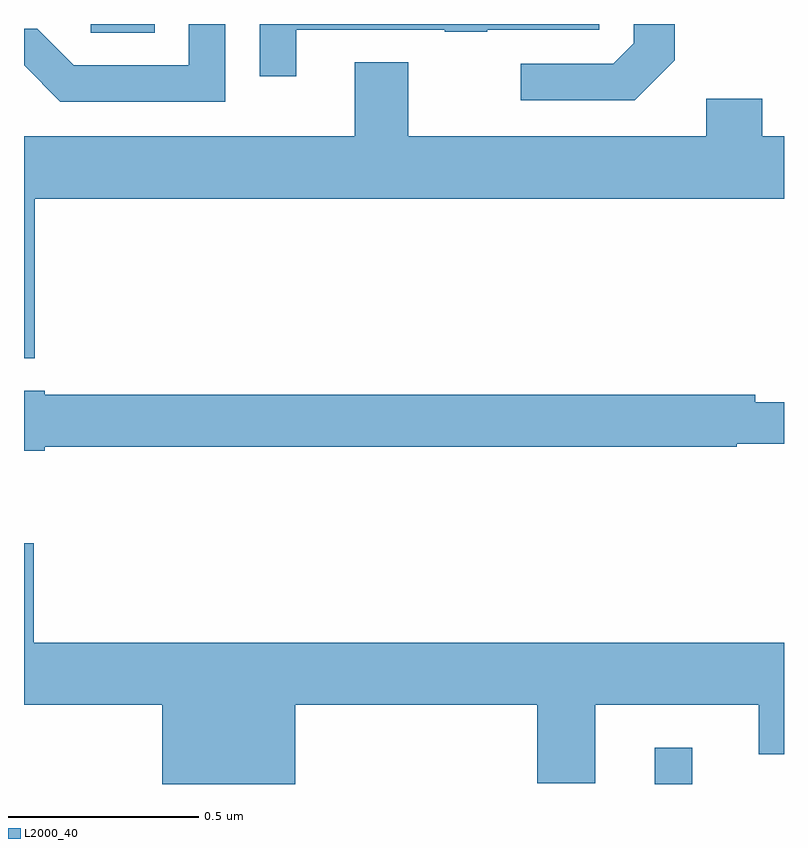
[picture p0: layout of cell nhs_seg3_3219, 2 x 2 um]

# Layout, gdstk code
import gdstk
lib = gdstk.Library(unit=1e-6, precision=1e-09)
def R(c, l, rs):  # rectangles x0, y0, x1, y1
    for r in rs: c.add(gdstk.rectangle(r[:2], r[2:], *l))
def P(c, l, *ps):  # polygons
    for p in ps: c.add(gdstk.Polygon(p, *l))
L2000_40 = (2000, 40)

nhs_seg3_3219 = lib.new_cell('nhs_seg3_3219')
R(nhs_seg3_3219, L2000_40, [(152.66,675.4,152.758,675.496), (151.176,677.377,151.344,677.4)])
P(nhs_seg3_3219, L2000_40, [(151.717,677.385),(152.107,677.385),(152.107,677.38),(152.219,677.38),(152.219,677.385),(152.514,677.385),(152.514,677.4),(151.621,677.4),(151.621,677.262),(151.717,677.262)],
  [(151.53,677.4),(151.434,677.4),(151.434,677.292),(151.131,677.292),(151.035,677.388),(151,677.388),(151,677.291),(151.095,677.196),(151.53,677.196)],
  [(152.713,677.305),(152.713,677.4),(152.604,677.4),(152.604,677.349),(152.55,677.295),(152.307,677.295),(152.307,677.199),(152.607,677.199)],
  [(151.028,676.94),(153,676.94),(153,677.104),(152.943,677.104),(152.943,677.203),(152.795,677.203),(152.795,677.104),(152.011,677.104),(152.011,677.299),(151.871,677.299),(151.871,677.104),(151,677.104),(151,676.52),(151.028,676.52)],
  [(151.054,676.288),(152.875,676.288),(152.875,676.296),(153,676.296),(153,676.405),(152.924,676.405),(152.924,676.424),(151.054,676.424),(151.054,676.435),(151,676.435),(151,676.277),(151.054,676.277)],
  [(151.714,675.608),(152.351,675.608),(152.351,675.402),(152.503,675.402),(152.503,675.608),(152.933,675.608),(152.933,675.478),(153,675.478),(153,675.772),(151.025,675.772),(151.025,676.033),(151,676.033),(151,675.608),(151.364,675.608),(151.364,675.4),(151.714,675.4)])

lib.write_gds('nhs_seg3_3219.gds')
